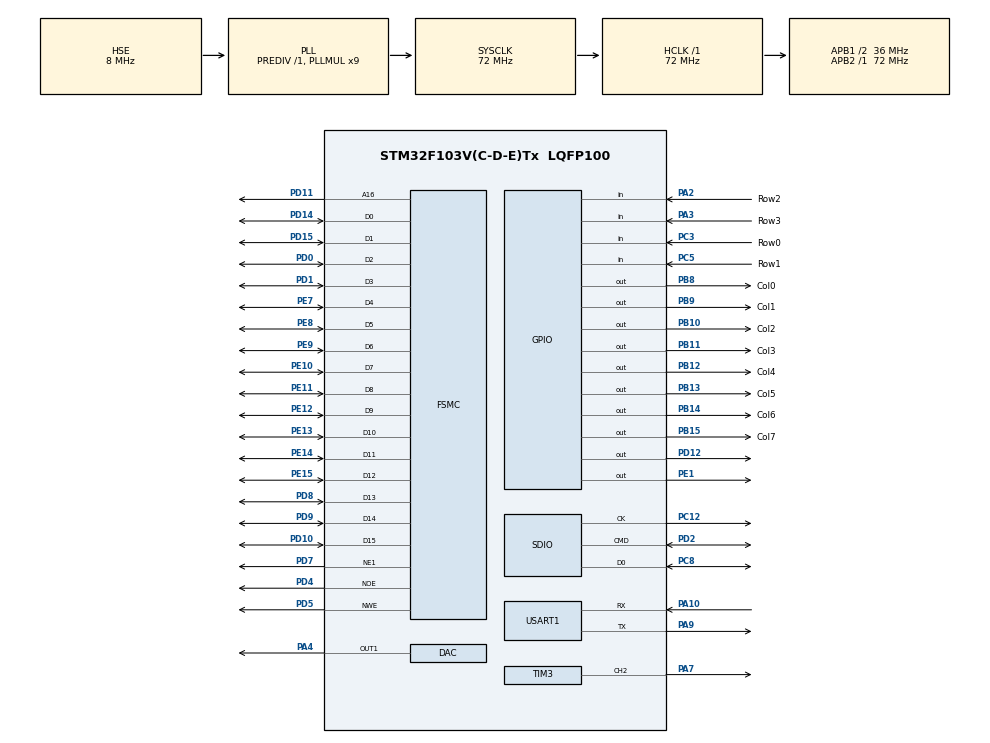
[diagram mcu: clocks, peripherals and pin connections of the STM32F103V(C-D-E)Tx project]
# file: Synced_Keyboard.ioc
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DAC.DAC_Trigger=DAC_TRIGGER_T8_TRGO
Dma.DAC_CH1.0.Direction=DMA_MEMORY_TO_PERIPH
Dma.DAC_CH1.0.Instance=DMA2_Channel3
Dma.DAC_CH1.0.MemDataAlignment=DMA_MDATAALIGN_HALFWORD
Dma.DAC_CH1.0.MemInc=DMA_MINC_ENABLE
Dma.DAC_CH1.0.Mode=DMA_CIRCULAR
Dma.DAC_CH1.0.PeriphDataAlignment=DMA_PDATAALIGN_HALFWORD
Dma.DAC_CH1.0.PeriphInc=DMA_PINC_DISABLE
Dma.DAC_CH1.0.Priority=DMA_PRIORITY_HIGH
Dma.Request0=DAC_CH1
Dma.Request1=SDIO
Dma.SDIO.1.Direction=DMA_PERIPH_TO_MEMORY
Dma.SDIO.1.Instance=DMA2_Channel4
Dma.SDIO.1.MemDataAlignment=DMA_MDATAALIGN_WORD
Dma.SDIO.1.MemInc=DMA_MINC_ENABLE
Dma.SDIO.1.Mode=DMA_CIRCULAR
Dma.SDIO.1.PeriphDataAlignment=DMA_PDATAALIGN_WORD
Dma.SDIO.1.PeriphInc=DMA_PINC_DISABLE
Dma.SDIO.1.Priority=DMA_PRIORITY_MEDIUM
Mcu.Family=STM32F1
Mcu.Name=STM32F103V(C-D-E)Tx
Mcu.Package=LQFP100
NVIC.DMA2_Channel3_IRQn=true\:0\:0\:false\:false\:true\:false\:true\:true
NVIC.DMA2_Channel4_5_IRQn=true\:0\:0\:false\:false\:true\:false\:true\:true
NVIC.PriorityGroup=NVIC_PRIORITYGROUP_4
NVIC.TIM3_IRQn=true\:1\:0\:true\:false\:true\:true\:true\:true
NVIC.TIM8_UP_IRQn=true\:0\:0\:false\:false\:true\:true\:true\:true
OSC_IN.Mode=HSE-External-Oscillator
OSC_IN.Signal=RCC_OSC_IN
OSC_OUT.Mode=HSE-External-Oscillator
OSC_OUT.Signal=RCC_OSC_OUT
PA10.Mode=Asynchronous
PA10.Signal=USART1_RX
PA13.Mode=Serial_Wire
PA13.Signal=SYS_JTMS-SWDIO
PA14.Mode=Serial_Wire
PA14.Signal=SYS_JTCK-SWCLK
PA2.GPIO_Label=Row2
PA2.GPIO_PuPd=GPIO_PULLDOWN
PA2.Signal=GPIO_Input
PA3.GPIO_Label=Row3
PA3.GPIO_PuPd=GPIO_PULLDOWN
PA3.Signal=GPIO_Input
PA4.Signal=COMP_DAC1_group
PA7.Signal=S_TIM3_CH2
PA9.Mode=Asynchronous
PA9.Signal=USART1_TX
PB10.GPIO_Label=Col2
PB10.GPIO_Speed=GPIO_SPEED_FREQ_HIGH
PB10.Signal=GPIO_Output
PB11.GPIO_Label=Col3
PB11.GPIO_Speed=GPIO_SPEED_FREQ_HIGH
PB11.Signal=GPIO_Output
PB12.GPIO_Label=Col4
PB12.GPIO_Speed=GPIO_SPEED_FREQ_HIGH
PB12.Signal=GPIO_Output
PB13.GPIO_Label=Col5
PB13.GPIO_Speed=GPIO_SPEED_FREQ_HIGH
PB13.Signal=GPIO_Output
PB14.GPIO_Label=Col6
PB14.GPIO_Speed=GPIO_SPEED_FREQ_HIGH
PB14.Signal=GPIO_Output
PB15.GPIO_Label=Col7
PB15.GPIO_Speed=GPIO_SPEED_FREQ_HIGH
PB15.Signal=GPIO_Output
PB8.GPIO_Label=Col0
PB8.GPIO_PuPd=GPIO_NOPULL
PB8.GPIO_Speed=GPIO_SPEED_FREQ_HIGH
PB8.Signal=GPIO_Output
PB9.GPIO_Label=Col1
PB9.GPIO_Speed=GPIO_SPEED_FREQ_HIGH
PB9.Signal=GPIO_Output
PC12.Mode=SD_1_bit
PC12.Signal=SDIO_CK
PC14-OSC32_IN.Mode=LSE-External-Oscillator
PC14-OSC32_IN.Signal=RCC_OSC32_IN
PC15-OSC32_OUT.Mode=LSE-External-Oscillator
PC15-OSC32_OUT.Signal=RCC_OSC32_OUT
PC3.GPIO_Label=Row0
PC3.GPIO_PuPd=GPIO_PULLDOWN
PC3.Signal=GPIO_Input
PC5.GPIO_Label=Row1
PC5.GPIO_PuPd=GPIO_PULLDOWN
PC5.Signal=GPIO_Input
PC8.Mode=SD_1_bit
PC8.Signal=SDIO_D0
PD0.Mode=16b-d1
PD0.Signal=FSMC_D2
PD1.Mode=16b-d1
PD1.Signal=FSMC_D3
PD10.Mode=16b-d1
PD10.Signal=FSMC_D15
PD11.Mode=A16_1
PD11.Signal=FSMC_A16
PD12.GPIO_Speed=GPIO_SPEED_FREQ_HIGH
PD12.Signal=GPIO_Output
PD14.Mode=16b-d1
PD14.Signal=FSMC_D0
PD15.Mode=16b-d1
PD15.Signal=FSMC_D1
PD2.Mode=SD_1_bit
PD2.Signal=SDIO_CMD
PD4.Mode=Lcd1
PD4.Signal=FSMC_NOE
PD5.Mode=Lcd1
PD5.Signal=FSMC_NWE
PD7.Mode=NorPsramChipSelect1_1
PD7.Signal=FSMC_NE1
PD8.Mode=16b-d1
PD8.Signal=FSMC_D13
PD9.Mode=16b-d1
PD9.Signal=FSMC_D14
PE1.GPIO_Speed=GPIO_SPEED_FREQ_HIGH
PE1.Signal=GPIO_Output
PE10.Mode=16b-d1
PE10.Signal=FSMC_D7
PE11.Mode=16b-d1
PE11.Signal=FSMC_D8
PE12.Mode=16b-d1
PE12.Signal=FSMC_D9
PE13.Mode=16b-d1
PE13.Signal=FSMC_D10
PE14.Mode=16b-d1
PE14.Signal=FSMC_D11
PE15.Mode=16b-d1
PE15.Signal=FSMC_D12
PE7.Mode=16b-d1
PE7.Signal=FSMC_D4
PE8.Mode=16b-d1
PE8.Signal=FSMC_D5
PE9.Mode=16b-d1
PE9.Signal=FSMC_D6
ProjectManager.HeapSize=0x200
ProjectManager.StackSize=0x400
ProjectManager.TargetToolchain=STM32CubeIDE
RCC.AHBFreq_Value=72000000
RCC.APB1CLKDivider=RCC_HCLK_DIV2
RCC.APB1Freq_Value=36000000
RCC.APB1TimFreq_Value=72000000
RCC.APB2Freq_Value=72000000
RCC.APB2TimFreq_Value=72000000
RCC.HCLKFreq_Value=72000000
RCC.PLLMUL=RCC_PLL_MUL9
RCC.PLLSourceVirtual=RCC_PLLSOURCE_HSE
RCC.SYSCLKFreq_VALUE=72000000
RCC.SYSCLKSource=RCC_SYSCLKSOURCE_PLLCLK
RCC.USBFreq_Value=72000000
SDIO.ClockDiv=4
SDIO.HardwareFlowControl=SDIO_HARDWARE_FLOW_CONTROL_ENABLE
SH.COMP_DAC1_group.0=DAC_OUT1,DAC_OUT1
SH.S_TIM3_CH2.0=TIM3_CH2,PWM Generation2 CH2
TIM3.Channel-PWM\ Generation2\ CH2=TIM_CHANNEL_2
TIM3.Period=10-1
TIM3.Prescaler=7200-1
TIM3.Pulse-PWM\ Generation2\ CH2=32500
TIM3.TIM_MasterOutputTrigger=TIM_TRGO_UPDATE
TIM8.Channel-Output\ Compare1\ No\ Output=TIM_CHANNEL_1
TIM8.Period=1630
TIM8.TIM_MasterOutputTrigger=TIM_TRGO_UPDATE
USART1.VirtualMode=VM_ASYNC
VP_FATFS_VS_SDIO.Mode=SDIO
VP_TIM2_VS_ClockSourceINT.Mode=Internal
VP_TIM3_VS_ClockSourceINT.Mode=Internal
VP_TIM8_VS_ClockSourceINT.Mode=Internal
VP_TIM8_VS_no_output1.Mode=Output Compare1 No Output
board=custom

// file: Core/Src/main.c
/* USER CODE BEGIN Header */
/**
  ******************************************************************************
  * @file           : main.c
  * @brief          : Main program body
  ******************************************************************************
  * @attention
  *
  * Copyright (c) 2026 STMicroelectronics.
  * All rights reserved.
  *
  * This software is licensed under terms that can be found in the LICENSE file
  * in the root directory of this software component.
  * If no LICENSE file comes with this software, it is provided AS-IS.
  *
  ******************************************************************************
  */
/* USER CODE END Header */
#include "main.h"
#include "fatfs.h"

/* USER CODE BEGIN Includes */
//#include "song.h"
#include "song_player.h"
#include "sd_player.h"
#include "note_event.h"
#include "uart_tx.h"
/* USER CODE END Includes */

/* USER CODE BEGIN PD */
#define OCTAVE_STEP  2

/* USER CODE END PD */

 DAC_HandleTypeDef hdac;
DMA_HandleTypeDef hdma_dac_ch1;

SD_HandleTypeDef hsd;
DMA_HandleTypeDef hdma_sdio;

TIM_HandleTypeDef htim2;
TIM_HandleTypeDef htim3;
TIM_HandleTypeDef htim8;

UART_HandleTypeDef huart1;

SRAM_HandleTypeDef hsram1;

/* USER CODE BEGIN PV */

static const float baseNoteFreq[3][8] = {
    { 261.63f, 277.18f, 293.66f, 311.13f, 329.63f, 349.23f, 369.99f, 392.00f },
    { 415.30f, 440.00f, 466.16f, 493.88f, 523.25f, 554.37f, 587.33f, 622.25f },
    { 659.26f, 698.46f, 739.99f, 783.99f, 830.61f, 880.00f, 932.33f, 987.77f }
};

static const char *keyNoteNames[3][8] = {
    { "C",  "C#", "D",  "D#", "E",  "F",  "F#", "G"  },
    { "G#", "A",  "A#", "B",  "C",  "C#", "D",  "D#" },
    { "E",  "F",  "F#", "G",  "G#", "A",  "A#", "B"  }
};

static int8_t   octaveOffset   = 0;
static WaveType currentWaveType = WAVE_SQUARE;
static uint8_t  lastPressedRow = 0xFF;
static uint8_t  lastPressedCol = 0xFF;

/* Number of chord (note) keys currently held. The song player must stay
 * muted while ANY chord key is down and resume only when the last one
 * is released. */
static uint8_t  activeChordKeys = 0;

/* Press timestamp per playable note key (rows 0..2) for duration_ms. */
static uint32_t pressTickPerKey[3][NUM_COLS] = {{0}};

/* ── 4-voice rolling window (voice stealing) ──
 * Holds at most MAX_CHORD_VOICES active chord keys. When a 5th key is
 * pressed the oldest entry is evicted (Audio_NoteOff + UART note-off).
 * A release for an already-evicted key is silently ignored. */
#define MAX_CHORD_VOICES 4
typedef struct { uint8_t row; uint8_t col; uint8_t octave; } VoiceSlot;
static VoiceSlot voiceWindow[MAX_CHORD_VOICES];
static uint8_t   voiceHead = 0;   /* oldest entry (eviction point) */
static uint8_t   voiceTail = 0;   /* next insert slot              */
static uint8_t   voiceCount = 0;

static void VoiceWindow_Push(uint8_t r, uint8_t c, uint8_t oct)
{
    voiceWindow[voiceTail].row    = r;
    voiceWindow[voiceTail].col    = c;
    voiceWindow[voiceTail].octave = oct;
    voiceTail = (voiceTail + 1u) % MAX_CHORD_VOICES;
    voiceCount++;
}

static uint8_t VoiceWindow_Pop(uint8_t *r, uint8_t *c, uint8_t *oct)
{
    if (voiceCount == 0u) return 0;
    *r   = voiceWindow[voiceHead].row;
    *c   = voiceWindow[voiceHead].col;
    *oct = voiceWindow[voiceHead].octave;
    voiceHead = (voiceHead + 1u) % MAX_CHORD_VOICES;
    voiceCount--;
    return 1;
}

static uint8_t VoiceWindow_FindAndRemove(uint8_t r, uint8_t c)
{
    uint8_t idx = voiceHead;
    for (uint8_t i = 0; i < voiceCount; i++) {
        if (voiceWindow[idx].row == r && voiceWindow[idx].col == c) {
            /* Shift remaining entries left to close the gap */
            uint8_t src = (idx + 1u) % MAX_CHORD_VOICES;
            for (uint8_t j = i + 1u; j < voiceCount; j++) {
                voiceWindow[idx] = voiceWindow[src];
                idx  = src;
                src  = (src + 1u) % MAX_CHORD_VOICES;
            }
            voiceCount--;
            /* Re-adjust head/tail so the logical ring stays consistent */
            voiceTail = (voiceHead + voiceCount) % MAX_CHORD_VOICES;
            return 1;  /* found and removed */
        }
        idx = (idx + 1u) % MAX_CHORD_VOICES;
    }
    return 0;  /* not in window — was already evicted */
}

/* Song player state for LCD */
static const char *currentRiffName = "";

/* NoteEvent encoding lookup for (row, col) */
typedef struct { uint8_t name; uint8_t acc; } NoteCode;

static const NoteCode noteCode[3][8] = {
    /* Row 0: C C# D D# E F F# G */
    { {NOTE_C,ACC_NATURAL},{NOTE_C,ACC_SHARP},{NOTE_D,ACC_NATURAL},{NOTE_D,ACC_SHARP},
      {NOTE_E,ACC_NATURAL},{NOTE_F,ACC_NATURAL},{NOTE_F,ACC_SHARP},{NOTE_G,ACC_NATURAL} },
    /* Row 1: G# A A# B C C# D D# */
    { {NOTE_G,ACC_SHARP},{NOTE_A,ACC_NATURAL},{NOTE_A,ACC_SHARP},{NOTE_B,ACC_NATURAL},
      {NOTE_C,ACC_NATURAL},{NOTE_C,ACC_SHARP},{NOTE_D,ACC_NATURAL},{NOTE_D,ACC_SHARP} },
    /* Row 2: E F F# G G# A A# B */
    { {NOTE_E,ACC_NATURAL},{NOTE_F,ACC_NATURAL},{NOTE_F,ACC_SHARP},{NOTE_G,ACC_NATURAL},
      {NOTE_G,ACC_SHARP},{NOTE_A,ACC_NATURAL},{NOTE_A,ACC_SHARP},{NOTE_B,ACC_NATURAL} },
};

/* USER CODE END PV */

void SystemClock_Config(void);
static void MX_GPIO_Init(void);
static void MX_FSMC_Init(void);
static void MX_DMA_Init(void);
static void MX_TIM3_Init(void);
static void MX_DAC_Init(void);
static void MX_TIM2_Init(void);
static void MX_TIM8_Init(void);
static void MX_SDIO_SD_Init(void);
static void MX_USART1_UART_Init(void);

/* USER CODE BEGIN 0 */
/* USER CODE BEGIN 0 */

static float GetNoteFreq(uint8_t r, uint8_t c)
{
    float base = baseNoteFreq[r][c];
    if (octaveOffset > 0) {
        for (int8_t i = 0; i < octaveOffset; i++) base *= 2.0f;
    } else if (octaveOffset < 0) {
        for (int8_t i = 0; i > octaveOffset; i--) base /= 2.0f;
    }
    return base;
}

static void LCD_ShowOctave(void)
{
    char buf[8] = "OCT:   ";
    if (octaveOffset == 0) {
        buf[5] = ' '; buf[6] = '0';
    } else if (octaveOffset > 0) {
        buf[5] = '+';
        buf[6] = '0' + (char)octaveOffset;
    } else {
        buf[5] = '-';
        buf[6] = '0' + (char)(-octaveOffset);
    }
    LCD_DrawString(70, 120, "       ");
    LCD_DrawString(70, 120, buf);
}

static void LCD_ShowWave(void)
{
    LCD_DrawString(70, 150, "        ");
    switch (currentWaveType) {
        case WAVE_SINE:     LCD_DrawString(70, 150, "SINE");     break;
        case WAVE_SQUARE:   LCD_DrawString(70, 150, "SQUARE");   break;
        case WAVE_TRIANGLE: LCD_DrawString(70, 150, "TRIANGLE"); break;
        default:            LCD_DrawString(70, 150, "???");      break;
    }
}

/* Retune every chord voice that is currently in the voice window.
 * We iterate voiceWindow instead of keyState[][] because an evicted key
 * may still read HIGH on GPIO (physically held) but must not be retuned —
 * its audio was already stolen. */
static void Chord_RetuneAll(void)
{
    uint8_t idx = voiceHead;
    for (uint8_t i = 0; i < voiceCount; i++) {
        uint8_t r = voiceWindow[idx].row;
        uint8_t c = voiceWindow[idx].col;
        uint8_t voice = (uint8_t)(1u + r * NUM_COLS + c);
        Audio_NoteOn(voice, GetNoteFreq(r, c));
        idx = (idx + 1u) % MAX_CHORD_VOICES;
    }
}

static void CycleWave(void)
{
    switch (currentWaveType) {
        case WAVE_SINE:     currentWaveType = WAVE_SQUARE;   break;
        case WAVE_SQUARE:   currentWaveType = WAVE_TRIANGLE; break;
        case WAVE_TRIANGLE: currentWaveType = WAVE_SINE;     break;
        default:            currentWaveType = WAVE_SINE;     break;
    }
    Audio_SetWave(currentWaveType);
    LCD_ShowWave();
}

void HAL_TIM_PeriodElapsedCallback(TIM_HandleTypeDef *htim)
{
    if (htim->Instance == TIM3) {
        Keypad_ScanOneColumn();
    }
}

static void LCD_ShowSong(const char *name)
{
    LCD_DrawString(70, 180, "          ");
    LCD_DrawString(70, 180, (char *)name);
}

static void LCD_ShowSampleRate(void)
{
    LCD_DrawString(70, 240, "      ");
    LCD_DrawString(70, 240, Audio_GetSampleRateName());
}
/* USER CODE END 0 */

int main(void)
{

  /* MCU Configuration--------------------------------------------------------*/

  /* Reset of all peripherals, Initializes the Flash interface and the Systick. */
  HAL_Init();

  /* Configure the system clock */
  SystemClock_Config();

  /* Initialize all configured peripherals */
  MX_GPIO_Init();
  MX_FSMC_Init();
  MX_DMA_Init();
  MX_TIM3_Init();
  MX_DAC_Init();
  MX_TIM2_Init();
  MX_TIM8_Init();
  MX_SDIO_SD_Init();
  MX_FATFS_Init();
  MX_USART1_UART_Init();
  /* USER CODE BEGIN 2 */

  LCD_INIT();
  HAL_TIM_Base_Start_IT(&htim3);

  LCD_DrawString(0,   0, "KeyBoard Audio Test");
  LCD_DrawString(0,  30, "Note: ");
  LCD_DrawString(0,  60, "Row:  ");
  LCD_DrawString(0,  90, "Col:  ");
  LCD_DrawString(0, 120, "Oct:  ");
  LCD_DrawString(0, 150, "Wave: ");

  Audio_Init(&hdac, &htim8);
  Audio_SetWave(WAVE_SQUARE);
  LCD_ShowOctave();
  LCD_ShowWave();
  LCD_DrawString(0, 180, "Song: ");
  LCD_ShowSong("---");

  SdPlayer_Init();
  LCD_DrawString(0, 240, "SR:   ");
  LCD_ShowSampleRate();

  UART_TX_Init();

  /* USER CODE END 2 */

  /* Infinite loop */
  while (1)
  {

    /* USER CODE BEGIN 3 */

	  /* ── Song player tick ── */
	  SongPlayer_Tick();
	  SdPlayer_Tick();

	  /* ── Drain ALL queued key events ──
	   * Each scan-tick can enqueue up to 4 events (one per row); a chord
	   * crossing the debounce threshold within a single column scan
	   * produces multiple events back-to-back. The previous single-slot
	   * design lost every event after the first, which dropped chord
	   * notes both on the speaker AND on Board 2's display.
	   */
	  KeyEvent ev;
	  while (Keypad_GetEvent(&ev)) {
	      uint8_t r = ev.row;
	      uint8_t c = ev.col;

	      /* Always update row/col display */
	      char rowStr[2] = {'0' + r, '\0'};
	      LCD_DrawString(70, 60, "  ");
	      LCD_DrawString(70, 60, rowStr);

	      char colStr[2] = {'0' + c, '\0'};
	      LCD_DrawString(70, 90, "  ");
	      LCD_DrawString(70, 90, colStr);

	      if (ev.isPress) {
	          if (r < 3) {
	              /* ── Note key PRESS (with 4-voice cap) ── */
	              if (voiceCount == MAX_CHORD_VOICES) {
	                  uint8_t evR, evC, evOct;
	                  if (VoiceWindow_Pop(&evR, &evC, &evOct)) {
	                      uint8_t evVoice = (uint8_t)(1u + evR * NUM_COLS + evC);
	                      Audio_NoteOff(evVoice);

	                      uint32_t evHeld = HAL_GetTick() - pressTickPerKey[evR][evC];
	                      NoteEvent evEvt = {
	                          .start_byte  = NOTE_EVENT_START_BYTE,
	                          .note_name   = noteCode[evR][evC].name,
	                          .accidental  = noteCode[evR][evC].acc,
	                          .octave      = evOct,
	                          .velocity    = VEL_KEY_UP,
	                          .duration_ms = (evHeld > 0xFFFFu) ? 0xFFFFu : (uint16_t)evHeld,
	                          .track_id    = TRACK_LIVE,
	                          .active      = 0,
	                      };
	                      UART_TX_SendNoteEvent(&evEvt);
	                      if (activeChordKeys > 0) activeChordKeys--;
	                  }
	              }

	              if (activeChordKeys == 0) {
	                  SongPlayer_MuteForKey();
	              }
	              activeChordKeys++;

	              int baseOct   = (r == 0 || (r == 1 && c < 4)) ? 4 : 5;
	              int actualOct = baseOct + octaveOffset;
	              VoiceWindow_Push(r, c, (uint8_t)actualOct);

	              float freq = GetNoteFreq(r, c);

	              char noteBuf[5] = {0};
	              const char *name = keyNoteNames[r][c];
	              if (name[1] == '#') {
	                  noteBuf[0] = name[0];
	                  noteBuf[1] = '#';
	                  noteBuf[2] = '0' + (char)actualOct;
	                  noteBuf[3] = '\0';
	              } else {
	                  noteBuf[0] = name[0];
	                  noteBuf[1] = '0' + (char)actualOct;
	                  noteBuf[2] = '\0';
	              }

	              LCD_DrawString(70, 30, "     ");
	              LCD_DrawString(70, 30, noteBuf);

	              uint8_t voice = (uint8_t)(1u + r * NUM_COLS + c);
	              Audio_NoteOn(voice, freq);

	              lastPressedRow = r;
	              lastPressedCol = c;
	              pressTickPerKey[r][c] = HAL_GetTick();

	              NoteEvent evt = {
	                  .start_byte  = NOTE_EVENT_START_BYTE,
	                  .note_name   = noteCode[r][c].name,
	                  .accidental  = noteCode[r][c].acc,
	                  .octave      = (uint8_t)actualOct,
	                  .velocity    = VEL_KEY_DOWN,
	                  .duration_ms = 0,
	                  .track_id    = TRACK_LIVE,
	                  .active      = 1,
	              };
	              UART_TX_SendNoteEvent(&evt);

	          } else {
	              /* ── Row 3 special keys ── */
	              switch (c) {
	              case 1:
	                  if (octaveOffset >= -2 + OCTAVE_STEP) {
	                      octaveOffset -= OCTAVE_STEP;
	                      LCD_ShowOctave();
	                      Chord_RetuneAll();
	                  }
	                  break;
	              case 2:
	                  if (octaveOffset <= 3 - OCTAVE_STEP) {
	                      octaveOffset += OCTAVE_STEP;
	                      LCD_ShowOctave();
	                      Chord_RetuneAll();
	                  }
	                  break;
	              case 3:
	                  CycleWave();
	                  break;
	              case 4:
	                  SdPlayer_Toggle();
	                  LCD_ShowSong(SdPlayer_GetFilename());
	                  break;
	              case 5:
	                  SdPlayer_Stop();
	                  if (SdPlayer_LoadNext()) {
	                      SdPlayer_Play();
	                  }
	                  LCD_ShowSong(SdPlayer_GetFilename());
	                  break;
	              case 6:
	                  Audio_SetSampleRate((Audio_GetSampleRate() + 1) % SAMPLE_RATE_COUNT);
	                  LCD_ShowSampleRate();
	                  break;
	              default:
	                  LCD_DrawString(70, 30, "     ");
	                  LCD_DrawString(70, 30, "---");
	                  break;
	              }
	          }
	      } else {
	          /* ── Key RELEASE ── */
	          if (r < 3) {
	              /* Remove from voice window first. If not found, the key
	               * was already evicted (stolen) — skip audio/UART to avoid
	               * corrupting voiceCount or activeChordKeys. */
	              if (!VoiceWindow_FindAndRemove(r, c)) {
	                  /* Key was evicted before its release arrived; already
	                   * sent NoteOff. Just keep state consistent. */
	                  if (activeChordKeys > 0) activeChordKeys--;
	                  if (activeChordKeys == 0) {
	                      LCD_DrawString(70, 30, "     ");
	                      lastPressedRow = 0xFF;
	                      lastPressedCol = 0xFF;
	                      SongPlayer_UnmuteAfterKey();
	                      LCD_ShowSong(currentRiffName);
	                  }
	                  continue;
	              }

	              uint8_t voice = (uint8_t)(1u + r * NUM_COLS + c);
	              Audio_NoteOff(voice);

	              uint32_t held_ms = HAL_GetTick() - pressTickPerKey[r][c];

	              int baseOct   = (r == 0 || (r == 1 && c < 4)) ? 4 : 5;
	              int actualOct = baseOct + octaveOffset;

	              NoteEvent evt = {
	                  .start_byte  = NOTE_EVENT_START_BYTE,
	                  .note_name   = noteCode[r][c].name,
	                  .accidental  = noteCode[r][c].acc,
	                  .octave      = (uint8_t)actualOct,
	                  .velocity    = VEL_KEY_UP,
	                  .duration_ms = (held_ms > 0xFFFFu) ? 0xFFFFu : (uint16_t)held_ms,
	                  .track_id    = TRACK_LIVE,
	                  .active      = 0,
	              };
	              UART_TX_SendNoteEvent(&evt);

	              if (activeChordKeys > 0) activeChordKeys--;
	              if (activeChordKeys == 0) {
	                  LCD_DrawString(70, 30, "     ");
	                  lastPressedRow = 0xFF;
	                  lastPressedCol = 0xFF;
	                  SongPlayer_UnmuteAfterKey();
	                  LCD_ShowSong(currentRiffName);
	              }
	          }
	          /* Row 3 release: nothing to do (special keys are press-only). */
	      }
	  }

  }
  /* USER CODE END 3 */
}

void SystemClock_Config(void)
{
  RCC_OscInitTypeDef RCC_OscInitStruct = {0};
  RCC_ClkInitTypeDef RCC_ClkInitStruct = {0};

  /** Initializes the RCC Oscillators according to the specified parameters
  * in the RCC_OscInitTypeDef structure.
  */
  RCC_OscInitStruct.OscillatorType = RCC_OSCILLATORTYPE_HSE;
  RCC_OscInitStruct.HSEState = RCC_HSE_ON;
  RCC_OscInitStruct.HSEPredivValue = RCC_HSE_PREDIV_DIV1;
  RCC_OscInitStruct.HSIState = RCC_HSI_ON;
  RCC_OscInitStruct.PLL.PLLState = RCC_PLL_ON;
  RCC_OscInitStruct.PLL.PLLSource = RCC_PLLSOURCE_HSE;
  RCC_OscInitStruct.PLL.PLLMUL = RCC_PLL_MUL9;
  if (HAL_RCC_OscConfig(&RCC_OscInitStruct) != HAL_OK)
  {
    Error_Handler();
  }

  /** Initializes the CPU, AHB and APB buses clocks
  */
  RCC_ClkInitStruct.ClockType = RCC_CLOCKTYPE_HCLK|RCC_CLOCKTYPE_SYSCLK
                              |RCC_CLOCKTYPE_PCLK1|RCC_CLOCKTYPE_PCLK2;
  RCC_ClkInitStruct.SYSCLKSource = RCC_SYSCLKSOURCE_PLLCLK;
  RCC_ClkInitStruct.AHBCLKDivider = RCC_SYSCLK_DIV1;
  RCC_ClkInitStruct.APB1CLKDivider = RCC_HCLK_DIV2;
  RCC_ClkInitStruct.APB2CLKDivider = RCC_HCLK_DIV1;

  if (HAL_RCC_ClockConfig(&RCC_ClkInitStruct, FLASH_LATENCY_2) != HAL_OK)
  {
    Error_Handler();
  }
}

static void MX_DAC_Init(void)
{

  DAC_ChannelConfTypeDef sConfig = {0};

  /** DAC Initialization
  */
  hdac.Instance = DAC;
  if (HAL_DAC_Init(&hdac) != HAL_OK)
  {
    Error_Handler();
  }

  /** DAC channel OUT1 config
  */
  sConfig.DAC_Trigger = DAC_TRIGGER_T8_TRGO;
  sConfig.DAC_OutputBuffer = DAC_OUTPUTBUFFER_ENABLE;
  if (HAL_DAC_ConfigChannel(&hdac, &sConfig, DAC_CHANNEL_1) != HAL_OK)
  {
    Error_Handler();
  }

}

static void MX_SDIO_SD_Init(void)
{

  hsd.Instance = SDIO;
  hsd.Init.ClockEdge = SDIO_CLOCK_EDGE_RISING;
  hsd.Init.ClockBypass = SDIO_CLOCK_BYPASS_DISABLE;
  hsd.Init.ClockPowerSave = SDIO_CLOCK_POWER_SAVE_DISABLE;
  hsd.Init.BusWide = SDIO_BUS_WIDE_1B;
  hsd.Init.HardwareFlowControl = SDIO_HARDWARE_FLOW_CONTROL_ENABLE;
  hsd.Init.ClockDiv = 4;

}

static void MX_TIM2_Init(void)
{

  TIM_ClockConfigTypeDef sClockSourceConfig = {0};
  TIM_MasterConfigTypeDef sMasterConfig = {0};

  htim2.Instance = TIM2;
  htim2.Init.Prescaler = 0;
  htim2.Init.CounterMode = TIM_COUNTERMODE_UP;
  htim2.Init.Period = 65535;
  htim2.Init.ClockDivision = TIM_CLOCKDIVISION_DIV1;
  htim2.Init.AutoReloadPreload = TIM_AUTORELOAD_PRELOAD_DISABLE;
  if (HAL_TIM_Base_Init(&htim2) != HAL_OK)
  {
    Error_Handler();
  }
  sClockSourceConfig.ClockSource = TIM_CLOCKSOURCE_INTERNAL;
  if (HAL_TIM_ConfigClockSource(&htim2, &sClockSourceConfig) != HAL_OK)
  {
    Error_Handler();
  }
  sMasterConfig.MasterOutputTrigger = TIM_TRGO_RESET;
  sMasterConfig.MasterSlaveMode = TIM_MASTERSLAVEMODE_DISABLE;
  if (HAL_TIMEx_MasterConfigSynchronization(&htim2, &sMasterConfig) != HAL_OK)
  {
    Error_Handler();
  }

}

static void MX_TIM3_Init(void)
{

  TIM_ClockConfigTypeDef sClockSourceConfig = {0};
  TIM_MasterConfigTypeDef sMasterConfig = {0};
  TIM_OC_InitTypeDef sConfigOC = {0};

  htim3.Instance = TIM3;
  htim3.Init.Prescaler = 7200-1;
  htim3.Init.CounterMode = TIM_COUNTERMODE_UP;
  htim3.Init.Period = 10-1;
  htim3.Init.ClockDivision = TIM_CLOCKDIVISION_DIV1;
  htim3.Init.AutoReloadPreload = TIM_AUTORELOAD_PRELOAD_DISABLE;
  if (HAL_TIM_Base_Init(&htim3) != HAL_OK)
  {
    Error_Handler();
  }
  sClockSourceConfig.ClockSource = TIM_CLOCKSOURCE_INTERNAL;
  if (HAL_TIM_ConfigClockSource(&htim3, &sClockSourceConfig) != HAL_OK)
  {
    Error_Handler();
  }
  if (HAL_TIM_PWM_Init(&htim3) != HAL_OK)
  {
    Error_Handler();
  }
  sMasterConfig.MasterOutputTrigger = TIM_TRGO_UPDATE;
  sMasterConfig.MasterSlaveMode = TIM_MASTERSLAVEMODE_DISABLE;
  if (HAL_TIMEx_MasterConfigSynchronization(&htim3, &sMasterConfig) != HAL_OK)
  {
    Error_Handler();
  }
  sConfigOC.OCMode = TIM_OCMODE_PWM1;
  sConfigOC.Pulse = 32500;
  sConfigOC.OCPolarity = TIM_OCPOLARITY_HIGH;
  sConfigOC.OCFastMode = TIM_OCFAST_DISABLE;
  if (HAL_TIM_PWM_ConfigChannel(&htim3, &sConfigOC, TIM_CHANNEL_2) != HAL_OK)
  {
    Error_Handler();
  }
  HAL_TIM_MspPostInit(&htim3);

}

static void MX_TIM8_Init(void)
{

  TIM_ClockConfigTypeDef sClockSourceConfig = {0};
  TIM_MasterConfigTypeDef sMasterConfig = {0};
  TIM_OC_InitTypeDef sConfigOC = {0};
  TIM_BreakDeadTimeConfigTypeDef sBreakDeadTimeConfig = {0};

  htim8.Instance = TIM8;
  htim8.Init.Prescaler = 0;
  htim8.Init.CounterMode = TIM_COUNTERMODE_UP;
  htim8.Init.Period = 1630;
  htim8.Init.ClockDivision = TIM_CLOCKDIVISION_DIV1;
  htim8.Init.RepetitionCounter = 0;
  htim8.Init.AutoReloadPreload = TIM_AUTORELOAD_PRELOAD_DISABLE;
  if (HAL_TIM_Base_Init(&htim8) != HAL_OK)
  {
    Error_Handler();
  }
  sClockSourceConfig.ClockSource = TIM_CLOCKSOURCE_INTERNAL;
  if (HAL_TIM_ConfigClockSource(&htim8, &sClockSourceConfig) != HAL_OK)
  {
    Error_Handler();
  }
  if (HAL_TIM_OC_Init(&htim8) != HAL_OK)
  {
    Error_Handler();
  }
  sMasterConfig.MasterOutputTrigger = TIM_TRGO_UPDATE;
  sMasterConfig.MasterSlaveMode = TIM_MASTERSLAVEMODE_DISABLE;
  if (HAL_TIMEx_MasterConfigSynchronization(&htim8, &sMasterConfig) != HAL_OK)
  {
    Error_Handler();
  }
  sConfigOC.OCMode = TIM_OCMODE_TIMING;
  sConfigOC.Pulse = 0;
  sConfigOC.OCPolarity = TIM_OCPOLARITY_HIGH;
  sConfigOC.OCNPolarity = TIM_OCNPOLARITY_HIGH;
  sConfigOC.OCFastMode = TIM_OCFAST_DISABLE;
  sConfigOC.OCIdleState = TIM_OCIDLESTATE_RESET;
  sConfigOC.OCNIdleState = TIM_OCNIDLESTATE_RESET;
  if (HAL_TIM_OC_ConfigChannel(&htim8, &sConfigOC, TIM_CHANNEL_1) != HAL_OK)
  {
    Error_Handler();
  }
  sBreakDeadTimeConfig.OffStateRunMode = TIM_OSSR_DISABLE;
  sBreakDeadTimeConfig.OffStateIDLEMode = TIM_OSSI_DISABLE;
  sBreakDeadTimeConfig.LockLevel = TIM_LOCKLEVEL_OFF;
  sBreakDeadTimeConfig.DeadTime = 0;
  sBreakDeadTimeConfig.BreakState = TIM_BREAK_DISABLE;
  sBreakDeadTimeConfig.BreakPolarity = TIM_BREAKPOLARITY_HIGH;
  sBreakDeadTimeConfig.AutomaticOutput = TIM_AUTOMATICOUTPUT_DISABLE;
  if (HAL_TIMEx_ConfigBreakDeadTime(&htim8, &sBreakDeadTimeConfig) != HAL_OK)
  {
    Error_Handler();
  }

}

static void MX_USART1_UART_Init(void)
{

  huart1.Instance = USART1;
  huart1.Init.BaudRate = 115200;
  huart1.Init.WordLength = UART_WORDLENGTH_8B;
  huart1.Init.StopBits = UART_STOPBITS_1;
  huart1.Init.Parity = UART_PARITY_NONE;
  huart1.Init.Mode = UART_MODE_TX_RX;
  huart1.Init.HwFlowCtl = UART_HWCONTROL_NONE;
  huart1.Init.OverSampling = UART_OVERSAMPLING_16;
  if (HAL_UART_Init(&huart1) != HAL_OK)
  {
    Error_Handler();
  }

}

static void MX_DMA_Init(void)
{

  /* DMA controller clock enable */
  __HAL_RCC_DMA2_CLK_ENABLE();

  /* DMA interrupt init */
  /* DMA2_Channel3_IRQn interrupt configuration */
  HAL_NVIC_SetPriority(DMA2_Channel3_IRQn, 0, 0);
  HAL_NVIC_EnableIRQ(DMA2_Channel3_IRQn);
  /* DMA2_Channel4_5_IRQn interrupt configuration */
  HAL_NVIC_SetPriority(DMA2_Channel4_5_IRQn, 0, 0);
  HAL_NVIC_EnableIRQ(DMA2_Channel4_5_IRQn);

}

static void MX_GPIO_Init(void)
{
  GPIO_InitTypeDef GPIO_InitStruct = {0};

  /* GPIO Ports Clock Enable */
  __HAL_RCC_GPIOC_CLK_ENABLE();
  __HAL_RCC_GPIOA_CLK_ENABLE();
  __HAL_RCC_GPIOE_CLK_ENABLE();
  __HAL_RCC_GPIOB_CLK_ENABLE();
  __HAL_RCC_GPIOD_CLK_ENABLE();

  /*Configure GPIO pin Output Level */
  HAL_GPIO_WritePin(GPIOB, Col2_Pin|Col3_Pin|Col4_Pin|Col5_Pin
                          |Col6_Pin|Col7_Pin|Col0_Pin|Col1_Pin, GPIO_PIN_RESET);

  /*Configure GPIO pin Output Level */
  HAL_GPIO_WritePin(GPIOD, GPIO_PIN_12, GPIO_PIN_RESET);

  /*Configure GPIO pin Output Level */
  HAL_GPIO_WritePin(GPIOE, GPIO_PIN_1, GPIO_PIN_RESET);

  /*Configure GPIO pins : Row0_Pin Row1_Pin */
  GPIO_InitStruct.Pin = Row0_Pin|Row1_Pin;
  GPIO_InitStruct.Mode = GPIO_MODE_INPUT;
  GPIO_InitStruct.Pull = GPIO_PULLDOWN;
  HAL_GPIO_Init(GPIOC, &GPIO_InitStruct);

  /*Configure GPIO pins : Row2_Pin Row3_Pin */
  GPIO_InitStruct.Pin = Row2_Pin|Row3_Pin;
  GPIO_InitStruct.Mode = GPIO_MODE_INPUT;
  GPIO_InitStruct.Pull = GPIO_PULLDOWN;
  HAL_GPIO_Init(GPIOA, &GPIO_InitStruct);

  /*Configure GPIO pins : Col2_Pin Col3_Pin Col4_Pin Col5_Pin
                           Col6_Pin Col7_Pin Col0_Pin Col1_Pin */
  GPIO_InitStruct.Pin = Col2_Pin|Col3_Pin|Col4_Pin|Col5_Pin
                          |Col6_Pin|Col7_Pin|Col0_Pin|Col1_Pin;
  GPIO_InitStruct.Mode = GPIO_MODE_OUTPUT_PP;
  GPIO_InitStruct.Pull = GPIO_NOPULL;
  GPIO_InitStruct.Speed = GPIO_SPEED_FREQ_HIGH;
  HAL_GPIO_Init(GPIOB, &GPIO_InitStruct);

  /*Configure GPIO pin : PD12 */
  GPIO_InitStruct.Pin = GPIO_PIN_12;
  GPIO_InitStruct.Mode = GPIO_MODE_OUTPUT_PP;
  GPIO_InitStruct.Pull = GPIO_NOPULL;
  GPIO_InitStruct.Speed = GPIO_SPEED_FREQ_HIGH;
  HAL_GPIO_Init(GPIOD, &GPIO_InitStruct);

  /*Configure GPIO pin : PE1 */
  GPIO_InitStruct.Pin = GPIO_PIN_1;
  GPIO_InitStruct.Mode = GPIO_MODE_OUTPUT_PP;
  GPIO_InitStruct.Pull = GPIO_NOPULL;
  GPIO_InitStruct.Speed = GPIO_SPEED_FREQ_HIGH;
  HAL_GPIO_Init(GPIOE, &GPIO_InitStruct);

}

/* FSMC initialization function */
static void MX_FSMC_Init(void)
{

  FSMC_NORSRAM_TimingTypeDef Timing = {0};

  /** Perform the SRAM1 memory initialization sequence
  */
  hsram1.Instance = FSMC_NORSRAM_DEVICE;
  hsram1.Extended = FSMC_NORSRAM_EXTENDED_DEVICE;
  /* hsram1.Init */
  hsram1.Init.NSBank = FSMC_NORSRAM_BANK1;
  hsram1.Init.DataAddressMux = FSMC_DATA_ADDRESS_MUX_DISABLE;
  hsram1.Init.MemoryType = FSMC_MEMORY_TYPE_SRAM;
  hsram1.Init.MemoryDataWidth = FSMC_NORSRAM_MEM_BUS_WIDTH_16;
  hsram1.Init.BurstAccessMode = FSMC_BURST_ACCESS_MODE_DISABLE;
  hsram1.Init.WaitSignalPolarity = FSMC_WAIT_SIGNAL_POLARITY_LOW;
  hsram1.Init.WrapMode = FSMC_WRAP_MODE_DISABLE;
  hsram1.Init.WaitSignalActive = FSMC_WAIT_TIMING_BEFORE_WS;
  hsram1.Init.WriteOperation = FSMC_WRITE_OPERATION_ENABLE;
  hsram1.Init.WaitSignal = FSMC_WAIT_SIGNAL_DISABLE;
  hsram1.Init.ExtendedMode = FSMC_EXTENDED_MODE_DISABLE;
  hsram1.Init.AsynchronousWait = FSMC_ASYNCHRONOUS_WAIT_DISABLE;
  hsram1.Init.WriteBurst = FSMC_WRITE_BURST_DISABLE;
  /* Timing */
  Timing.AddressSetupTime = 15;
  Timing.AddressHoldTime = 15;
  Timing.DataSetupTime = 255;
  Timing.BusTurnAroundDuration = 15;
  Timing.CLKDivision = 16;
  Timing.DataLatency = 17;
  Timing.AccessMode = FSMC_ACCESS_MODE_A;
  /* ExtTiming */

  if (HAL_SRAM_Init(&hsram1, &Timing, NULL) != HAL_OK)
  {
    Error_Handler( );
  }

  /** Disconnect NADV
  */

  __HAL_AFIO_FSMCNADV_DISCONNECTED();

}

void Error_Handler(void)
{
  __disable_irq();
  while (1)
  {
  }
}
